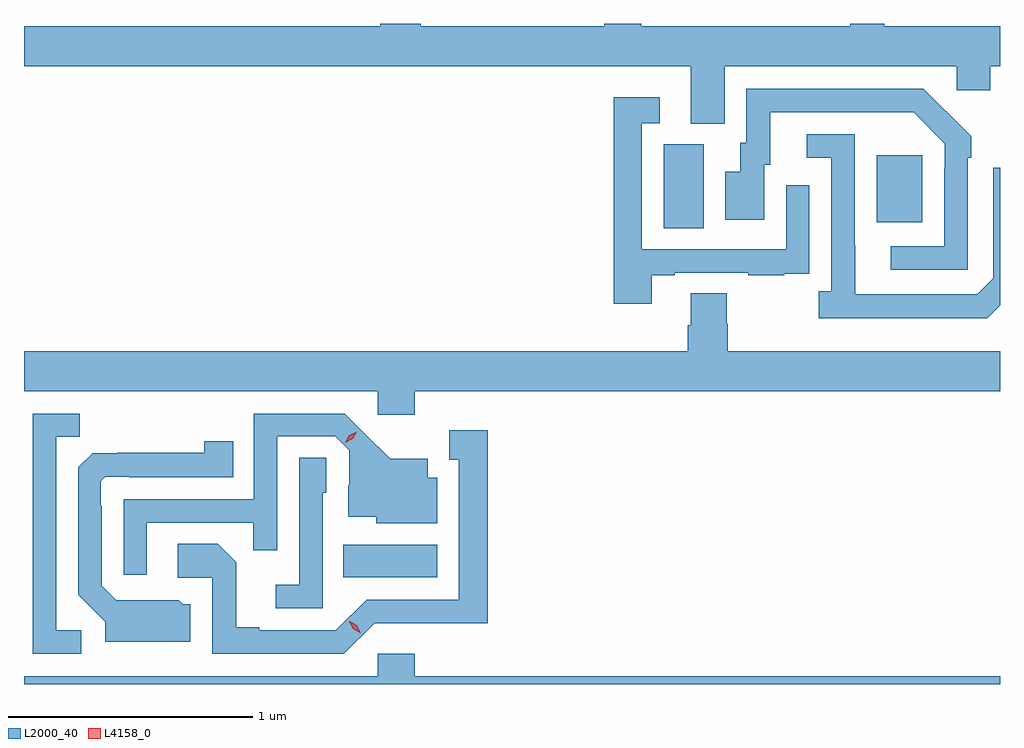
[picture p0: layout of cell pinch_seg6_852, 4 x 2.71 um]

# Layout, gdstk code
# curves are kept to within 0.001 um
import gdstk
lib = gdstk.Library(unit=1e-6, precision=1e-09)
def R(c, l, rs):  # rectangles x0, y0, x1, y1
    for r in rs: c.add(gdstk.rectangle(r[:2], r[2:], *l))
def P(c, l, *ps):  # polygons
    for p in ps: c.add(gdstk.Polygon(p, *l))
L2000_40 = (2000, 40)
L4158_0 = (4158, 0)

pinch_seg6_852 = lib.new_cell('pinch_seg6_852')
R(pinch_seg6_852, L2000_40, [(122.272,915.938,122.656,916.072), (123.584,917.368,123.748,917.712), (124.457,917.393,124.645,917.668)])
P(pinch_seg6_852, L2000_40, [(123.835,918.032),(124.785,918.032),(124.785,917.934),(124.924,917.934),(124.924,918.032),(124.963,918.032),(124.963,918.196),(124.488,918.196),(124.488,918.206),(124.349,918.206),(124.349,918.196),(123.493,918.196),(123.493,918.206),(123.341,918.206),(123.341,918.196),(122.588,918.196),(122.588,918.206),(122.423,918.206),(122.423,918.196),(120.963,918.196),(120.963,918.032),(123.695,918.032),(123.695,917.797),(123.835,917.797)],
  [(124.83,917.657),(124.845,917.657),(124.845,917.745),(124.648,917.94),(123.924,917.94),(123.924,917.718),(123.899,917.718),(123.899,917.599),(123.836,917.599),(123.836,917.403),(123.997,917.403),(123.997,917.628),(124.021,917.628),(124.021,917.844),(124.609,917.844),(124.737,917.715),(124.737,917.615),(124.734,917.615),(124.734,917.295),(124.515,917.295),(124.515,917.199),(124.83,917.199)],
  [(123.535,917.175),(123.631,917.175),(123.631,917.187),(123.931,917.187),(123.931,917.175),(124.079,917.175),(124.079,917.181),(124.181,917.181),(124.181,917.29),(124.182,917.29),(124.182,917.545),(124.086,917.545),(124.086,917.283),(123.495,917.283),(123.495,917.799),(123.568,917.799),(123.568,917.905),(123.379,917.905),(123.379,917.058),(123.535,917.058)],
  [(124.963,917.053),(124.963,917.617),(124.935,917.617),(124.935,917.163),(124.869,917.097),(124.369,917.097),(124.368,917.754),(124.17,917.754),(124.17,917.658),(124.272,917.658),(124.272,917.11),(124.221,917.11),(124.221,917),(124.91,917)],
  [(122.564,916.7),(124.963,916.7),(124.963,916.864),(123.848,916.864),(123.848,916.977),(123.843,916.977),(123.843,917.102),(123.695,917.102),(123.695,916.97),(123.683,916.97),(123.683,916.864),(120.963,916.864),(120.963,916.7),(122.412,916.7),(122.412,916.605),(122.564,916.605)],
  [(121.467,916.161),(121.903,916.161),(121.903,916.048),(122.001,916.048),(122.001,916.515),(122.238,916.515),(122.295,916.458),(122.295,916.316),(122.291,916.316),(122.291,916.187),(122.406,916.187),(122.406,916.16),(122.656,916.16),(122.656,916.345),(122.617,916.345),(122.617,916.423),(122.465,916.423),(122.278,916.608),(121.905,916.608),(121.905,916.257),(121.371,916.257),(121.371,915.948),(121.467,915.948)],
  [(121.198,915.72),(121.095,915.72),(121.095,916.513),(121.191,916.513),(121.191,916.608),(120.999,916.608),(120.999,915.624),(121.198,915.624)],
  [(122.4,915.75),(122.863,915.749),(122.863,916.54),(122.705,916.54),(122.705,916.419),(122.744,916.419),(122.744,915.846),(122.367,915.846),(122.241,915.72),(121.927,915.72),(121.927,915.733),(121.833,915.733),(121.833,916),(121.757,916.076),(121.593,916.076),(121.593,915.936),(121.734,915.936),(121.734,915.624),(122.274,915.624)],
  [(121.645,915.828),(121.614,915.828),(121.598,915.844),(121.341,915.843),(121.281,915.903),(121.281,916.232),(121.278,916.232),(121.278,916.332),(121.296,916.35),(121.396,916.35),(121.396,916.347),(121.82,916.347),(121.82,916.495),(121.702,916.495),(121.702,916.448),(121.244,916.447),(121.185,916.388),(121.185,915.866),(121.295,915.756),(121.295,915.674),(121.645,915.674)],
  [(122.187,916.284),(122.202,916.284),(122.202,916.427),(122.091,916.427),(122.091,915.907),(121.995,915.907),(121.995,915.81),(122.187,915.81)],
  [(124.963,915.532),(122.564,915.532),(122.564,915.625),(122.412,915.625),(122.412,915.532),(120.963,915.532),(120.963,915.5),(124.963,915.5)])
P(pinch_seg6_852, L4158_0, [(122.344,915.708),(122.312,915.727),(122.294,915.76),(122.294,915.76),(122.294,915.76),(122.326,915.741),(122.344,915.708),(122.344,915.708)],
  [(122.28,916.49),(122.28,916.49),(122.296,916.52),(122.327,916.535),(122.327,916.535),(122.327,916.535),(122.31,916.505),(122.28,916.49)])

lib.write_gds('pinch_seg6_852.gds')
